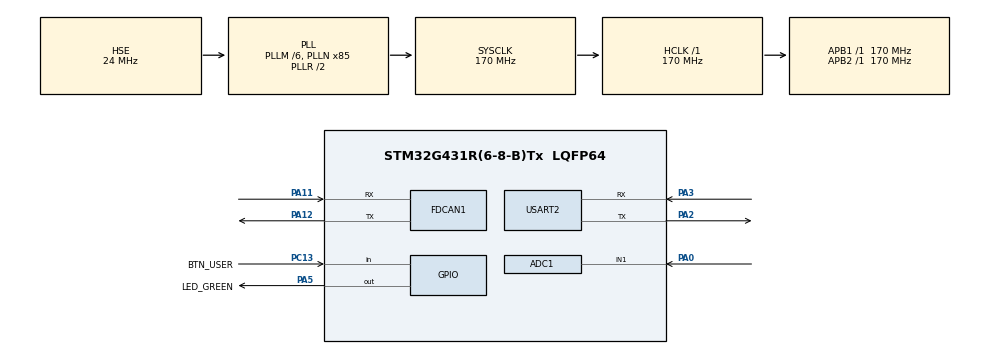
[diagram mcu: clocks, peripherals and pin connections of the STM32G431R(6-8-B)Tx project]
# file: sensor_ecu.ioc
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ADC1.Channel-0\#ChannelRegularConversion=ADC_CHANNEL_1
ADC1.NbrOfConversionFlag=1
ADC1.OffsetNumber-0\#ChannelRegularConversion=ADC_OFFSET_NONE
ADC1.Rank-0\#ChannelRegularConversion=1
ADC1.SamplingTime-0\#ChannelRegularConversion=ADC_SAMPLETIME_92CYCLES_5
ADC1.master=1
FDCAN1.AutoRetransmission=ENABLE
FDCAN1.CalculateBaudRateNominal=499999
FDCAN1.CalculateTimeBitNominal=2000
FDCAN1.CalculateTimeQuantumNominal=58.82352941176471
FDCAN1.NominalPrescaler=10
FDCAN1.NominalSyncJumpWidth=4
FDCAN1.NominalTimeSeg1=29
FDCAN1.NominalTimeSeg2=4
FDCAN1.StdFiltersNbr=1
Mcu.Family=STM32G4
Mcu.Name=STM32G431R(6-8-B)Tx
Mcu.Package=LQFP64
NVIC.FDCAN1_IT0_IRQn=true\:0\:0\:false\:false\:true\:true\:true\:true
NVIC.PriorityGroup=NVIC_PRIORITYGROUP_4
NVIC.TIM6_DAC_IRQn=true\:0\:0\:false\:false\:true\:true\:true\:true
PA0.Mode=IN1-Single-Ended
PA0.Signal=ADC1_IN1
PA11.Mode=FDCAN_Activate
PA11.Signal=FDCAN1_RX
PA12.Mode=FDCAN_Activate
PA12.Signal=FDCAN1_TX
PA2.Mode=Asynchronous
PA2.Signal=USART2_TX
PA3.Mode=Asynchronous
PA3.Signal=USART2_RX
PA5.GPIO_Label=LED_GREEN
PA5.Signal=GPIO_Output
PC13.GPIO_Label=BTN_USER
PC13.GPIO_PuPd=GPIO_NOPULL
PC13.Signal=GPIO_Input
PF0-OSC_IN.Mode=HSE-External-Oscillator
PF0-OSC_IN.Signal=RCC_OSC_IN
PF1-OSC_OUT.Mode=HSE-External-Oscillator
PF1-OSC_OUT.Signal=RCC_OSC_OUT
ProjectManager.HeapSize=0x200
ProjectManager.StackSize=0x400
ProjectManager.TargetToolchain=STM32CubeIDE
RCC.ADC12Freq_Value=170000000
RCC.AHBFreq_Value=170000000
RCC.APB1Freq_Value=170000000
RCC.APB1TimFreq_Value=170000000
RCC.APB2Freq_Value=170000000
RCC.APB2TimFreq_Value=170000000
RCC.CortexFreq_Value=170000000
RCC.EXTERNAL_CLOCK_VALUE=12288000
RCC.HCLKFreq_Value=170000000
RCC.HSE_VALUE=24000000
RCC.HSI48_VALUE=48000000
RCC.HSI_VALUE=16000000
RCC.LSE_VALUE=32768
RCC.PLLM=RCC_PLLM_DIV6
RCC.PLLN=85
RCC.PLLSourceVirtual=RCC_PLLSOURCE_HSE
RCC.SYSCLKFreq_VALUE=170000000
RCC.SYSCLKSource=RCC_SYSCLKSOURCE_PLLCLK
RCC.USBFreq_Value=170000000
RCC.VCOOutputFreq_Value=340000000
TIM6.AutoReloadPreload=TIM_AUTORELOAD_PRELOAD_ENABLE
TIM6.PeriodNoDither=99
TIM6.Prescaler=16999
USART2.VirtualMode-Asynchronous=VM_ASYNC
VP_SYS_VS_DBSignals.Mode=DisableDeadBatterySignals
VP_TIM6_VS_ClockSourceINT.Mode=Enable_Timer
board=custom

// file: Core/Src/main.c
/* USER CODE BEGIN Header */
/**
  ******************************************************************************
  * @file           : main.c
  * @brief          : Main program body
  ******************************************************************************
  * @attention
  *
  * Copyright (c) 2026 STMicroelectronics.
  * All rights reserved.
  *
  * This software is licensed under terms that can be found in the LICENSE file
  * in the root directory of this software component.
  * If no LICENSE file comes with this software, it is provided AS-IS.
  *
  ******************************************************************************
  */
/* USER CODE END Header */
#include "main.h"

/* USER CODE BEGIN Includes */
#include <stdio.h>
#include "sensor_app.h"
#include "tester_app.h"
/* USER CODE END Includes */

ADC_HandleTypeDef hadc1;

FDCAN_HandleTypeDef hfdcan1;

TIM_HandleTypeDef htim6;

UART_HandleTypeDef huart2;

/* USER CODE BEGIN PV */
/* Set by TIM6 every 10 ms, consumed by the main loop. */
static volatile bool s_tick10ms = false;
static volatile uint32_t s_tickOverruns = 0U;
/* USER CODE END PV */

void SystemClock_Config(void);
static void MX_GPIO_Init(void);
static void MX_FDCAN1_Init(void);
static void MX_ADC1_Init(void);
static void MX_TIM6_Init(void);
static void MX_USART2_UART_Init(void);

/* USER CODE BEGIN 0 */
/* Timer ISR only raises a flag; the real work (ADC, CAN, printf) runs in the
 * main loop so the interrupt stays short and nothing blocks inside it. */
void HAL_TIM_PeriodElapsedCallback(TIM_HandleTypeDef *htim)
{
  if (htim->Instance == TIM6)
  {
    if (s_tick10ms)
    {
      s_tickOverruns++;   /* previous 10 ms task has not finished yet */
    }
    s_tick10ms = true;
  }
}

/* printf() -> USART2 -> ST-LINK virtual COM port (115200 8N1) */
int __io_putchar(int ch)
{
  uint8_t c = (uint8_t)ch;
  (void)HAL_UART_Transmit(&huart2, &c, 1U, HAL_MAX_DELAY);
  return ch;
}
/* USER CODE END 0 */

int main(void)
{

  /* MCU Configuration--------------------------------------------------------*/

  /* Reset of all peripherals, Initializes the Flash interface and the Systick. */
  HAL_Init();

  /* Configure the system clock */
  SystemClock_Config();

  /* Initialize all configured peripherals */
  MX_GPIO_Init();
  MX_FDCAN1_Init();
  MX_ADC1_Init();
  MX_TIM6_Init();
  MX_USART2_UART_Init();
  /* USER CODE BEGIN 2 */
  if (!SensorApp_Init())
  {
    Error_Handler();
  }
  TesterApp_Init();
  if (HAL_TIM_Base_Start_IT(&htim6) != HAL_OK)
  {
    Error_Handler();
  }
  /* USER CODE END 2 */

  /* Infinite loop */
  while (1)
  {

    /* USER CODE BEGIN 3 */
    if (s_tick10ms)
    {
      s_tick10ms = false;
      SensorApp_Task10ms();
      TesterApp_Task();
    }
  }
  /* USER CODE END 3 */
}

void SystemClock_Config(void)
{
  RCC_OscInitTypeDef RCC_OscInitStruct = {0};
  RCC_ClkInitTypeDef RCC_ClkInitStruct = {0};

  /** Configure the main internal regulator output voltage
  */
  HAL_PWREx_ControlVoltageScaling(PWR_REGULATOR_VOLTAGE_SCALE1_BOOST);

  /** Initializes the RCC Oscillators according to the specified parameters
  * in the RCC_OscInitTypeDef structure.
  */
  RCC_OscInitStruct.OscillatorType = RCC_OSCILLATORTYPE_HSE;
  RCC_OscInitStruct.HSEState = RCC_HSE_ON;
  RCC_OscInitStruct.PLL.PLLState = RCC_PLL_ON;
  RCC_OscInitStruct.PLL.PLLSource = RCC_PLLSOURCE_HSE;
  RCC_OscInitStruct.PLL.PLLM = RCC_PLLM_DIV6;
  RCC_OscInitStruct.PLL.PLLN = 85;
  RCC_OscInitStruct.PLL.PLLP = RCC_PLLP_DIV2;
  RCC_OscInitStruct.PLL.PLLQ = RCC_PLLQ_DIV2;
  RCC_OscInitStruct.PLL.PLLR = RCC_PLLR_DIV2;
  if (HAL_RCC_OscConfig(&RCC_OscInitStruct) != HAL_OK)
  {
    Error_Handler();
  }

  /** Initializes the CPU, AHB and APB buses clocks
  */
  RCC_ClkInitStruct.ClockType = RCC_CLOCKTYPE_HCLK|RCC_CLOCKTYPE_SYSCLK
                              |RCC_CLOCKTYPE_PCLK1|RCC_CLOCKTYPE_PCLK2;
  RCC_ClkInitStruct.SYSCLKSource = RCC_SYSCLKSOURCE_PLLCLK;
  RCC_ClkInitStruct.AHBCLKDivider = RCC_SYSCLK_DIV1;
  RCC_ClkInitStruct.APB1CLKDivider = RCC_HCLK_DIV1;
  RCC_ClkInitStruct.APB2CLKDivider = RCC_HCLK_DIV1;

  if (HAL_RCC_ClockConfig(&RCC_ClkInitStruct, FLASH_LATENCY_4) != HAL_OK)
  {
    Error_Handler();
  }
}

static void MX_ADC1_Init(void)
{

  ADC_MultiModeTypeDef multimode = {0};
  ADC_ChannelConfTypeDef sConfig = {0};

  /** Common config
  */
  hadc1.Instance = ADC1;
  hadc1.Init.ClockPrescaler = ADC_CLOCK_SYNC_PCLK_DIV4;
  hadc1.Init.Resolution = ADC_RESOLUTION_12B;
  hadc1.Init.DataAlign = ADC_DATAALIGN_RIGHT;
  hadc1.Init.GainCompensation = 0;
  hadc1.Init.ScanConvMode = ADC_SCAN_DISABLE;
  hadc1.Init.EOCSelection = ADC_EOC_SINGLE_CONV;
  hadc1.Init.LowPowerAutoWait = DISABLE;
  hadc1.Init.ContinuousConvMode = DISABLE;
  hadc1.Init.NbrOfConversion = 1;
  hadc1.Init.DiscontinuousConvMode = DISABLE;
  hadc1.Init.ExternalTrigConv = ADC_SOFTWARE_START;
  hadc1.Init.ExternalTrigConvEdge = ADC_EXTERNALTRIGCONVEDGE_NONE;
  hadc1.Init.DMAContinuousRequests = DISABLE;
  hadc1.Init.Overrun = ADC_OVR_DATA_PRESERVED;
  hadc1.Init.OversamplingMode = DISABLE;
  if (HAL_ADC_Init(&hadc1) != HAL_OK)
  {
    Error_Handler();
  }

  /** Configure the ADC multi-mode
  */
  multimode.Mode = ADC_MODE_INDEPENDENT;
  if (HAL_ADCEx_MultiModeConfigChannel(&hadc1, &multimode) != HAL_OK)
  {
    Error_Handler();
  }

  /** Configure Regular Channel
  */
  sConfig.Channel = ADC_CHANNEL_1;
  sConfig.Rank = ADC_REGULAR_RANK_1;
  sConfig.SamplingTime = ADC_SAMPLETIME_92CYCLES_5;
  sConfig.SingleDiff = ADC_SINGLE_ENDED;
  sConfig.OffsetNumber = ADC_OFFSET_NONE;
  sConfig.Offset = 0;
  if (HAL_ADC_ConfigChannel(&hadc1, &sConfig) != HAL_OK)
  {
    Error_Handler();
  }

}

static void MX_FDCAN1_Init(void)
{

  hfdcan1.Instance = FDCAN1;
  hfdcan1.Init.ClockDivider = FDCAN_CLOCK_DIV1;
  hfdcan1.Init.FrameFormat = FDCAN_FRAME_CLASSIC;
  hfdcan1.Init.Mode = FDCAN_MODE_NORMAL;
  hfdcan1.Init.AutoRetransmission = ENABLE;
  hfdcan1.Init.TransmitPause = DISABLE;
  hfdcan1.Init.ProtocolException = DISABLE;
  hfdcan1.Init.NominalPrescaler = 10;
  hfdcan1.Init.NominalSyncJumpWidth = 4;
  hfdcan1.Init.NominalTimeSeg1 = 29;
  hfdcan1.Init.NominalTimeSeg2 = 4;
  hfdcan1.Init.DataPrescaler = 1;
  hfdcan1.Init.DataSyncJumpWidth = 1;
  hfdcan1.Init.DataTimeSeg1 = 1;
  hfdcan1.Init.DataTimeSeg2 = 1;
  hfdcan1.Init.StdFiltersNbr = 1;
  hfdcan1.Init.ExtFiltersNbr = 0;
  hfdcan1.Init.TxFifoQueueMode = FDCAN_TX_FIFO_OPERATION;
  if (HAL_FDCAN_Init(&hfdcan1) != HAL_OK)
  {
    Error_Handler();
  }

}

static void MX_TIM6_Init(void)
{

  TIM_MasterConfigTypeDef sMasterConfig = {0};

  htim6.Instance = TIM6;
  htim6.Init.Prescaler = 16999;
  htim6.Init.CounterMode = TIM_COUNTERMODE_UP;
  htim6.Init.Period = 99;
  htim6.Init.AutoReloadPreload = TIM_AUTORELOAD_PRELOAD_ENABLE;
  if (HAL_TIM_Base_Init(&htim6) != HAL_OK)
  {
    Error_Handler();
  }
  sMasterConfig.MasterOutputTrigger = TIM_TRGO_RESET;
  sMasterConfig.MasterSlaveMode = TIM_MASTERSLAVEMODE_DISABLE;
  if (HAL_TIMEx_MasterConfigSynchronization(&htim6, &sMasterConfig) != HAL_OK)
  {
    Error_Handler();
  }

}

static void MX_USART2_UART_Init(void)
{

  huart2.Instance = USART2;
  huart2.Init.BaudRate = 115200;
  huart2.Init.WordLength = UART_WORDLENGTH_8B;
  huart2.Init.StopBits = UART_STOPBITS_1;
  huart2.Init.Parity = UART_PARITY_NONE;
  huart2.Init.Mode = UART_MODE_TX_RX;
  huart2.Init.HwFlowCtl = UART_HWCONTROL_NONE;
  huart2.Init.OverSampling = UART_OVERSAMPLING_16;
  huart2.Init.OneBitSampling = UART_ONE_BIT_SAMPLE_DISABLE;
  huart2.Init.ClockPrescaler = UART_PRESCALER_DIV1;
  huart2.AdvancedInit.AdvFeatureInit = UART_ADVFEATURE_NO_INIT;
  if (HAL_UART_Init(&huart2) != HAL_OK)
  {
    Error_Handler();
  }
  if (HAL_UARTEx_SetTxFifoThreshold(&huart2, UART_TXFIFO_THRESHOLD_1_8) != HAL_OK)
  {
    Error_Handler();
  }
  if (HAL_UARTEx_SetRxFifoThreshold(&huart2, UART_RXFIFO_THRESHOLD_1_8) != HAL_OK)
  {
    Error_Handler();
  }
  if (HAL_UARTEx_DisableFifoMode(&huart2) != HAL_OK)
  {
    Error_Handler();
  }

}

static void MX_GPIO_Init(void)
{
  GPIO_InitTypeDef GPIO_InitStruct = {0};

  /* GPIO Ports Clock Enable */
  __HAL_RCC_GPIOC_CLK_ENABLE();
  __HAL_RCC_GPIOF_CLK_ENABLE();
  __HAL_RCC_GPIOA_CLK_ENABLE();

  /*Configure GPIO pin Output Level */
  HAL_GPIO_WritePin(LED_GREEN_GPIO_Port, LED_GREEN_Pin, GPIO_PIN_RESET);

  /*Configure GPIO pin : BTN_USER_Pin */
  GPIO_InitStruct.Pin = BTN_USER_Pin;
  GPIO_InitStruct.Mode = GPIO_MODE_INPUT;
  GPIO_InitStruct.Pull = GPIO_NOPULL;
  HAL_GPIO_Init(BTN_USER_GPIO_Port, &GPIO_InitStruct);

  /*Configure GPIO pin : LED_GREEN_Pin */
  GPIO_InitStruct.Pin = LED_GREEN_Pin;
  GPIO_InitStruct.Mode = GPIO_MODE_OUTPUT_PP;
  GPIO_InitStruct.Pull = GPIO_NOPULL;
  GPIO_InitStruct.Speed = GPIO_SPEED_FREQ_LOW;
  HAL_GPIO_Init(LED_GREEN_GPIO_Port, &GPIO_InitStruct);

}

void Error_Handler(void)
{
  __disable_irq();
  while (1)
  {
  }
}
